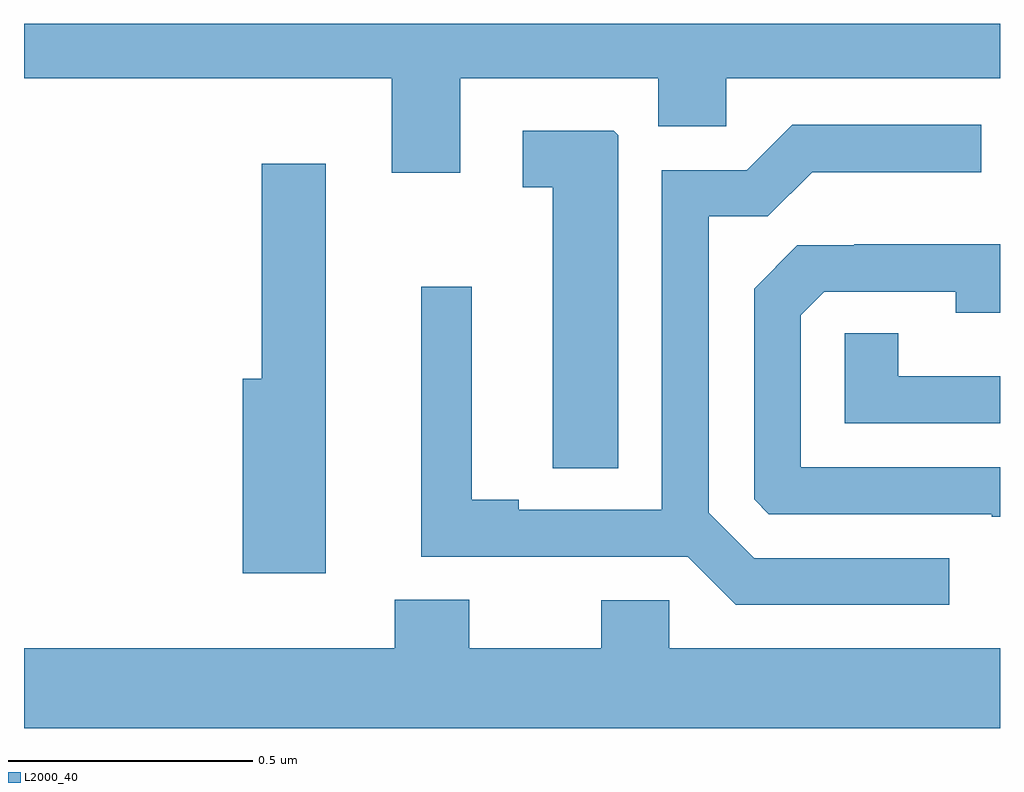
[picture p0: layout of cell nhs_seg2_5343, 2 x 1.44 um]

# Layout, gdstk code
import gdstk
lib = gdstk.Library(unit=1e-6, precision=1e-09)
def P(c, l, *ps):  # polygons
    for p in ps: c.add(gdstk.Polygon(p, *l))
L2000_40 = (2000, 40)

nhs_seg2_5343 = lib.new_cell('nhs_seg2_5343')
P(nhs_seg2_5343, L2000_40, [(178.894,595.688),(179.3,595.688),(179.3,595.59),(179.439,595.59),(179.439,595.688),(180,595.688),(180,595.8),(178,595.8),(178,595.688),(178.754,595.688),(178.754,595.494),(178.894,595.494)],
  [(179.896,594.705),(179.496,594.705),(179.403,594.798),(179.403,595.405),(179.524,595.405),(179.615,595.496),(179.962,595.496),(179.962,595.593),(179.574,595.593),(179.481,595.5),(179.307,595.5),(179.307,594.804),(179.014,594.804),(179.014,594.824),(178.918,594.824),(178.918,595.261),(178.814,595.261),(178.814,594.708),(179.36,594.708),(179.459,594.609),(179.896,594.609)],
  [(179.218,595.571),(179.208,595.581),(179.022,595.581),(179.022,595.465),(179.084,595.465),(179.084,594.889),(179.218,594.889)],
  [(178.618,595.513),(178.487,595.513),(178.487,595.072),(178.448,595.072),(178.448,594.674),(178.618,594.674)],
  [(180,594.891),(179.592,594.891),(179.592,595.203),(179.64,595.251),(179.909,595.251),(179.909,595.208),(180,595.208),(180,595.348),(179.701,595.348),(179.701,595.346),(179.585,595.346),(179.496,595.257),(179.496,594.825),(179.526,594.795),(179.983,594.795),(179.983,594.79),(180,594.79)],
  [(180,595.078),(179.791,595.078),(179.791,595.166),(179.682,595.166),(179.682,594.981),(180,594.981)],
  [(180,594.52),(179.322,594.52),(179.322,594.618),(179.183,594.618),(179.183,594.52),(178.912,594.52),(178.912,594.619),(178.76,594.619),(178.76,594.52),(178,594.52),(178,594.356),(180,594.356)])

lib.write_gds('nhs_seg2_5343.gds')
